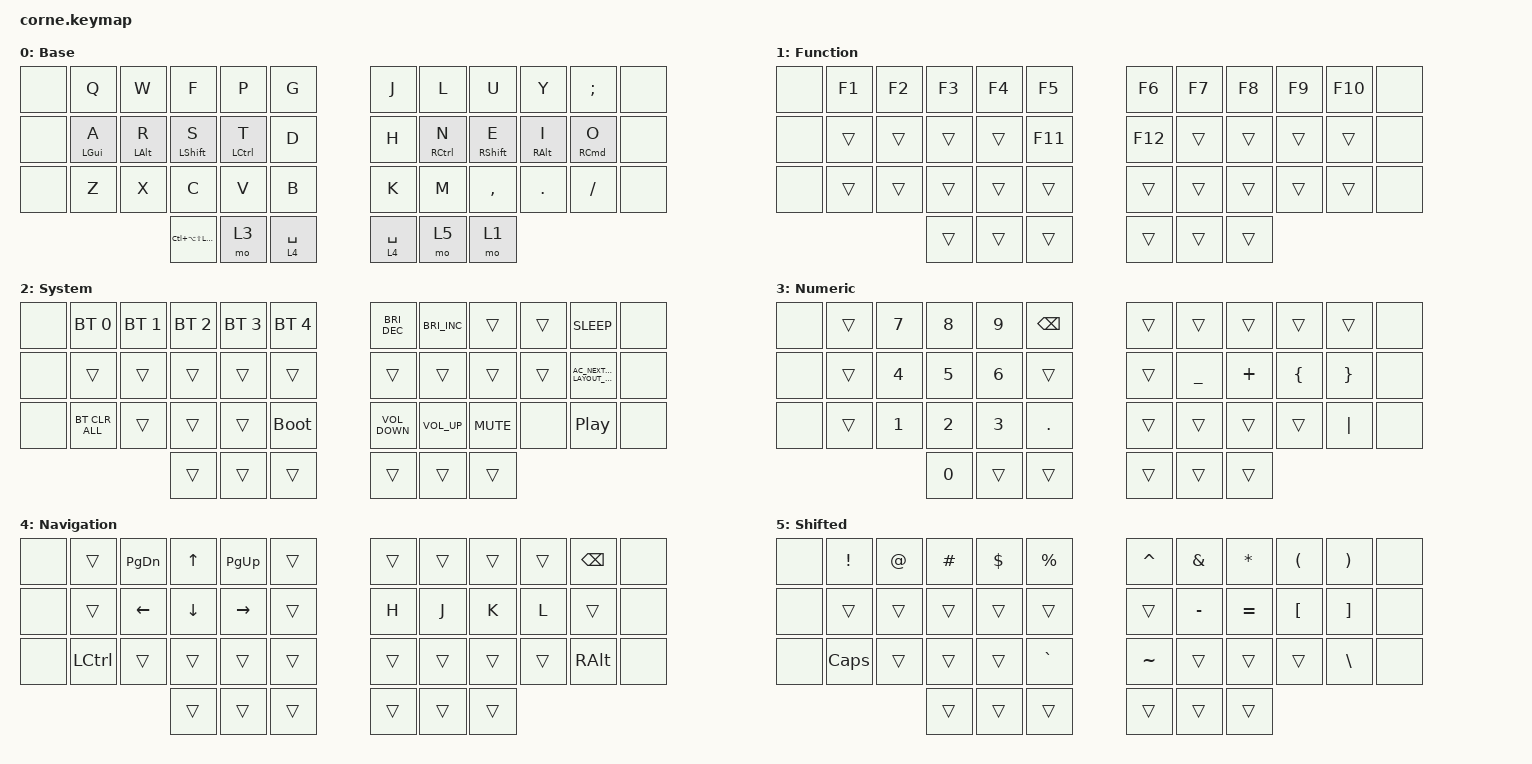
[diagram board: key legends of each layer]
#include <behaviors.dtsi>
#include <dt-bindings/zmk/bt.h>
#include <dt-bindings/zmk/keys.h>

/ {
    combos {
        compatible = "zmk,combos";

        backspace {
            key-positions = <9 10>;
            bindings = <&kp BACKSPACE>;
        };

        tab {
            key-positions = <2 1>;
            bindings = <&kp TAB>;
        };

        enter {
            bindings = <&kp ENTER>;
            key-positions = <33 34>;
        };

        escape {
            bindings = <&kp ESCAPE>;
            key-positions = <13 14>;
        };

        Delete {
            bindings = <&kp DEL>;
            key-positions = <8 9 10>;
        };

        quotes {
            bindings = <&kp SQT>;
            key-positions = <21 22>;
        };

        grave {
            bindings = <&kp GRAVE>;
            key-positions = <1 2 3>;
        };

        shift {
            bindings = <&kp LEFT_SHIFT>;
            key-positions = <25 26>;
        };

        quick_up {
            bindings = <&kp UP_ARROW>;
            key-positions = <2 3 4>;
        };

        quick_down {
            bindings = <&kp DOWN>;
            key-positions = <14 16 15>;
        };

        quick_right {
            bindings = <&kp RIGHT>;
            key-positions = <16 15 17>;
        };

        quick_left {
            bindings = <&kp LEFT>;
            key-positions = <14 15 13>;
        };

        tilde {
            bindings = <&kp TILDE>;
            key-positions = <1 2 4>;
        };

        ctrl+space {
            bindings = <&kp RC(SPACE)>;
            key-positions = <19 39>;
        };
    };

    behaviors {
        spc_shft: spc_shft {
            compatible = "zmk,behavior-hold-tap";
            label = "SPC_SHFT";
            bindings = <&kp>, <&kp>;

            #binding-cells = <2>;
            flavor = "balanced";
            tapping-term-ms = <200>;
        };

        hml: homewrow_mods_left {
            compatible = "zmk,behavior-hold-tap";
            #binding-cells = <2>;
            label = "HOMEROW_MODS_LEFT_HAND";
            bindings = <&kp>, <&kp>;

            tapping-term-ms = <250>;
            hold-trigger-key-positions = <6 7 8 9 10 11 18 19 20 21 22 23 30 31 32 33 34 35 39 40 41>;
            flavor = "balanced";
        };

        hmr: homewrow_mods_right {
            compatible = "zmk,behavior-hold-tap";
            #binding-cells = <2>;
            label = "HOMEROW_MODS_RIGHT_HAND";
            bindings = <&kp>, <&kp>;

            tapping-term-ms = <250>;
            hold-trigger-key-positions = <0 1 2 3 4 5 12 13 14 15 16 17 24 25 26 27 28 29 36 37 38>;
            flavor = "balanced";
        };
    };

    keymap {
        compatible = "zmk,keymap";

        Base {
            bindings = <
&none  &kp Q            &kp W            &kp F                     &kp P         &kp G          &kp J        &kp L         &kp U               &kp Y             &kp SEMI              &none
&none  &hml LEFT_GUI A  &hml LEFT_ALT R  &hml LEFT_SHIFT S         &hml LCTRL T  &kp D          &kp H        &hmr RCTRL N  &hmr RIGHT_SHIFT E  &hmr RIGHT_ALT I  &hmr RIGHT_COMMAND O  &none
&none  &kp Z            &kp X            &kp C                     &kp V         &kp B          &kp K        &kp M         &kp COMMA           &kp DOT           &kp FSLH              &none
                                         &kp LC(LA(LS(LEFT_GUI)))  &mo 3         &lt 4 SPACE    &lt 4 SPACE  &mo 5         &mo 1
            >;
        };

        Function {
            bindings = <
&none  &kp F1  &kp F2  &kp F3  &kp F4  &kp F5     &kp F6   &kp F7  &kp F8  &kp F9  &kp F10  &none
&none  &trans  &trans  &trans  &trans  &kp F11    &kp F12  &trans  &trans  &trans  &trans   &none
&none  &trans  &trans  &trans  &trans  &trans     &trans   &trans  &trans  &trans  &trans   &none
                       &trans  &trans  &trans     &trans   &trans  &trans
            >;
        };

        System {
            bindings = <
&none  &bt BT_SEL 0    &bt BT_SEL 1  &bt BT_SEL 2  &bt BT_SEL 3  &bt BT_SEL 4    &kp C_BRI_DEC      &kp C_BRIGHTNESS_INC  &trans      &trans  &kp C_SLEEP                           &none
&none  &trans          &trans        &trans        &trans        &trans          &trans             &trans                &trans      &trans  &kp C_AC_NEXT_KEYBOARD_LAYOUT_SELECT  &none
&none  &bt BT_CLR_ALL  &trans        &trans        &trans        &bootloader     &kp C_VOLUME_DOWN  &kp C_VOL_UP          &kp C_MUTE  &none   &kp C_PLAY_PAUSE                      &none
                                     &trans        &trans        &trans          &trans             &trans                &trans
            >;
        };

        Numeric {
            bindings = <
&none  &trans  &kp N7  &kp N8  &kp N9  &kp BACKSPACE    &trans  &trans          &trans    &trans          &trans           &none
&none  &trans  &kp N4  &kp N5  &kp N6  &trans           &trans  &kp UNDERSCORE  &kp PLUS  &kp LEFT_BRACE  &kp RIGHT_BRACE  &none
&none  &trans  &kp N1  &kp N2  &kp N3  &kp PERIOD       &trans  &trans          &trans    &trans          &kp PIPE         &none
                       &kp N0  &trans  &trans           &trans  &trans          &trans
            >;
        };

        Navigation {
            bindings = <
&none  &trans            &kp PAGE_DOWN  &kp UP_ARROW  &kp PAGE_UP  &trans    &trans  &trans  &trans  &trans  &kp BACKSPACE  &none
&none  &trans            &kp LEFT       &kp DOWN      &kp RIGHT    &trans    &kp H   &kp J   &kp K   &kp L   &trans         &none
&none  &kp LEFT_CONTROL  &trans         &trans        &trans       &trans    &trans  &trans  &trans  &trans  &kp RIGHT_ALT  &none
                                        &trans        &trans       &trans    &trans  &trans  &trans
            >;
        };

        Shifted {
            bindings = <
&none  &kp EXCLAMATION  &kp AT_SIGN  &kp HASH  &kp DOLLAR  &kp PERCENT    &kp CARET  &kp AMPERSAND  &kp ASTERISK  &kp LEFT_PARENTHESIS  &kp RIGHT_PARENTHESIS  &none
&none  &trans           &trans       &trans    &trans      &trans         &trans     &kp MINUS      &kp EQUAL     &kp LEFT_BRACKET      &kp RIGHT_BRACKET      &none
&none  &kp CAPSLOCK     &trans       &trans    &trans      &kp GRAVE      &kp TILDE  &trans         &trans        &trans                &kp BACKSLASH          &none
                                     &trans    &trans      &trans         &trans     &trans         &trans
            >;
        };
    };

    conditional_layers {
        compatible = "zmk,conditional-layers";

        Go_To_System_layer {
            if-layers = <3 5>;
            then-layer = <2>;
        };
    };
};
